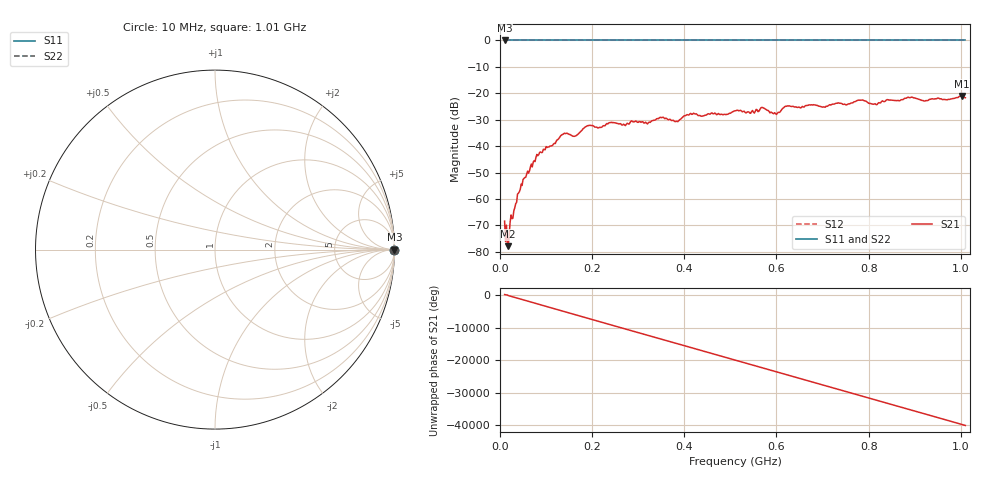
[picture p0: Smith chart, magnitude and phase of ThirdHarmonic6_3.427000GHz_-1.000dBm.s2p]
! 8/17/2025 11:00:49 AM
! C:\ANRITSUVNA\TEMP\TEMP.S2P
! CHANNEL.1
! TR.MEASUREMENT
! RAW.DATA
! RF.CORRECTION.OFF
! AVERAGING.OFF
! IF.BANDWIDTH: 5KHZ
! SWEEPTYPE:  FREQ.SWEEP(Linear)
! Reference Plane Port Info
! PORT:  PORT1  PORT2
! DISTANCE:  0  m  0  m
! TIME:  0  s  0  s
! PHASE.OFFSET:  0  deg.  0  deg.
! LOSS:  0  dB  0  dB
! REF.LOSS:  0  dB  0  dB
! REF.FREQ:  0  Hz  0  Hz
! Power Info
! POWER:  -20  dBm  -20  dBm
! EFF.POWER:  -20  dBm  -20  dBm
! SOURCE.ATTEN:  0  dB  0  dB
! TEST.ATTEN:  0  dB  0  dB
# GHZ S RI R 50.0
! FREQ.GHZ  S11RE  S11IM  S21RE  S21IM  S12RE  S12IM  S22RE  S22IM
!; PortSelection: Port_12
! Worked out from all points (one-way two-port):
!   501 points, 10 MHz to 1.01 GHz, reference 50 ohm
!   highest |S21| = -21.05 dB at 1.002 GHz (marker M1); lowest = -77.8 dB at 18 MHz (marker M2)
!   lowest |S11| = 0.0 dB at 10 MHz (marker M3)
!   |S11| at or under -10 dB: nowhere
!   |S22| runs from 0.0 to 0.0 dB; largest |S21 - S12| = 1.1
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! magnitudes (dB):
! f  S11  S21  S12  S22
! 10 MHz  0.0  -68.4  0.0  0.0
! 16 MHz  0.0  -76.9  0.0  0.0
! 18 MHz  0.0  -77.8  0.0  0.0
! 42 MHz  0.0  -57.3  0.0  0.0
! 82 MHz  0.0  -43.6  0.0  0.0
! 136 MHz  0.0  -35.6  0.0  0.0
! 162 MHz  0.0  -36.3  0.0  0.0
! 178 MHz  0.0  -34.0  0.0  0.0
! 194 MHz  0.0  -32.1  0.0  0.0
! 344 MHz  0.0  -29.6  0.0  0.0
! 384 MHz  0.0  -30.6  0.0  0.0
! 416 MHz  0.0  -28.0  0.0  0.0
! 510 MHz  0.0  -26.6  0.0  0.0
! 570 MHz  0.0  -25.4  0.0  0.0
! 598 MHz  0.0  -27.6  0.0  0.0
! 622 MHz  0.0  -24.9  0.0  0.0
! 678 MHz  0.0  -24.5  0.0  0.0
! 784 MHz  0.0  -22.6  0.0  0.0
! 814 MHz  0.0  -23.9  0.0  0.0
! 844 MHz  0.0  -22.5  0.0  0.0
! 1.002 GHz  0.0  -21.0  0.0  0.0
! 1.01 GHz  0.0  -21.7  0.0  0.0
